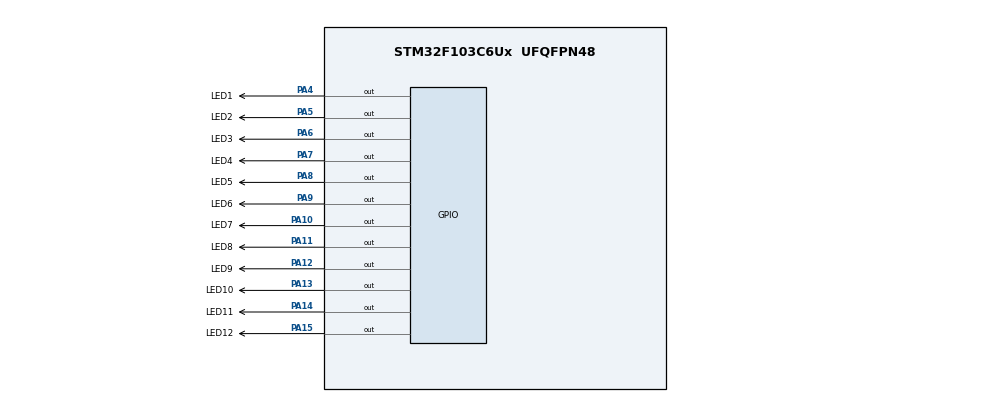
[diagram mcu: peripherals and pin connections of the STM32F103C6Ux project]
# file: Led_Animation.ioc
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Mcu.Family=STM32F1
Mcu.Name=STM32F103C6Ux
Mcu.Package=UFQFPN48
NVIC.PriorityGroup=NVIC_PRIORITYGROUP_4
PA10.GPIO_Label=LED7
PA10.Signal=GPIO_Output
PA11.GPIO_Label=LED8
PA11.Signal=GPIO_Output
PA12.GPIO_Label=LED9
PA12.Signal=GPIO_Output
PA13.GPIO_Label=LED10
PA13.Signal=GPIO_Output
PA14.GPIO_Label=LED11
PA14.Signal=GPIO_Output
PA15.GPIO_Label=LED12
PA15.Signal=GPIO_Output
PA4.GPIO_Label=LED1
PA4.Signal=GPIO_Output
PA5.GPIO_Label=LED2
PA5.Signal=GPIO_Output
PA6.GPIO_Label=LED3
PA6.Signal=GPIO_Output
PA7.GPIO_Label=LED4
PA7.Signal=GPIO_Output
PA8.GPIO_Label=LED5
PA8.Signal=GPIO_Output
PA9.GPIO_Label=LED6
PA9.Signal=GPIO_Output
ProjectManager.HeapSize=0x200
ProjectManager.StackSize=0x400
ProjectManager.TargetToolchain=STM32CubeIDE
RCC.APB1Freq_Value=8000000
RCC.APB2Freq_Value=8000000
VP_SYS_VS_ND.Mode=No_Debug
board=custom

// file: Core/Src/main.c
/* USER CODE BEGIN Header */
/**
  ******************************************************************************
  * @file           : main.c
  * @brief          : Main program body
  ******************************************************************************
  * @attention
  *
  * <h2><center>&copy; Copyright (c) 2025 STMicroelectronics.
  * All rights reserved.</center></h2>
  *
  * This software component is licensed by ST under BSD 3-Clause license,
  * the "License"; You may not use this file except in compliance with the
  * License. You may obtain a copy of the License at:
  *                        opensource.org/licenses/BSD-3-Clause
  *
  ******************************************************************************
  */
/* USER CODE END Header */
#include "main.h"

void SystemClock_Config(void);
static void MX_GPIO_Init(void);

/* USER CODE BEGIN 0 */
void clearAllclock(){
	HAL_GPIO_WritePin(GPIOA, LED1_Pin|LED2_Pin|LED3_Pin|LED4_Pin|LED5_Pin|LED6_Pin|LED7_Pin|LED8_Pin|LED9_Pin|LED10_Pin|LED11_Pin|LED12_Pin, GPIO_PIN_SET);
}

static const uint16_t CLOCK_LED_PIN[12]={
		LED1_Pin,
		LED2_Pin,
		LED3_Pin,
		LED4_Pin,
		LED5_Pin,
		LED6_Pin,
		LED7_Pin,
		LED8_Pin,
		LED9_Pin,
		LED10_Pin,
		LED11_Pin,
		LED12_Pin
};

void setNumberOnClock(int num){
	if(num<0||num>11) return;
	HAL_GPIO_WritePin(GPIOA, CLOCK_LED_PIN[num], RESET);
}

void clearNumberOnClock(int num){
	if(num<0||num>11) return;
	HAL_GPIO_WritePin(GPIOA, CLOCK_LED_PIN[num], SET);
}
/* USER CODE END 0 */

int main(void)
{

  /* MCU Configuration--------------------------------------------------------*/

  /* Reset of all peripherals, Initializes the Flash interface and the Systick. */
  HAL_Init();

  /* Configure the system clock */
  SystemClock_Config();

  /* Initialize all configured peripherals */
  MX_GPIO_Init();

  /* Infinite loop */
  /* USER CODE BEGIN WHILE */
  int hour=5;
  int min=49;
  int sec=55;
  int h,m,s;
  while (1)
  {
    /* USER CODE END WHILE */
	  sec++;
	  if(sec>=60){
		  sec=0;
		  min++;
		  if(min>=60){
			  min=0;
			  hour++;
			  if(hour>=12) hour=0;
		  }
	  }
	  h=hour%12;
	  m=(min/5);
	  s=(sec/5);
	  clearAllclock();
	  setNumberOnClock(h);
	  setNumberOnClock(m);
	  setNumberOnClock(s);
	  HAL_Delay(1000);
  }
}

void SystemClock_Config(void)
{
  RCC_OscInitTypeDef RCC_OscInitStruct = {0};
  RCC_ClkInitTypeDef RCC_ClkInitStruct = {0};

  /** Initializes the RCC Oscillators according to the specified parameters
  * in the RCC_OscInitTypeDef structure.
  */
  RCC_OscInitStruct.OscillatorType = RCC_OSCILLATORTYPE_HSI;
  RCC_OscInitStruct.HSIState = RCC_HSI_ON;
  RCC_OscInitStruct.HSICalibrationValue = RCC_HSICALIBRATION_DEFAULT;
  RCC_OscInitStruct.PLL.PLLState = RCC_PLL_NONE;
  if (HAL_RCC_OscConfig(&RCC_OscInitStruct) != HAL_OK)
  {
    Error_Handler();
  }
  /** Initializes the CPU, AHB and APB buses clocks
  */
  RCC_ClkInitStruct.ClockType = RCC_CLOCKTYPE_HCLK|RCC_CLOCKTYPE_SYSCLK
                              |RCC_CLOCKTYPE_PCLK1|RCC_CLOCKTYPE_PCLK2;
  RCC_ClkInitStruct.SYSCLKSource = RCC_SYSCLKSOURCE_HSI;
  RCC_ClkInitStruct.AHBCLKDivider = RCC_SYSCLK_DIV1;
  RCC_ClkInitStruct.APB1CLKDivider = RCC_HCLK_DIV1;
  RCC_ClkInitStruct.APB2CLKDivider = RCC_HCLK_DIV1;

  if (HAL_RCC_ClockConfig(&RCC_ClkInitStruct, FLASH_LATENCY_0) != HAL_OK)
  {
    Error_Handler();
  }
}

static void MX_GPIO_Init(void)
{
  GPIO_InitTypeDef GPIO_InitStruct = {0};

  /* GPIO Ports Clock Enable */
  __HAL_RCC_GPIOA_CLK_ENABLE();

  /*Configure GPIO pin Output Level */
  HAL_GPIO_WritePin(GPIOA, LED1_Pin|LED2_Pin|LED3_Pin|LED4_Pin
                          |LED5_Pin|LED6_Pin|LED7_Pin|LED8_Pin
                          |LED9_Pin|LED10_Pin|LED11_Pin|LED12_Pin, GPIO_PIN_RESET);

  /*Configure GPIO pins : LED1_Pin LED2_Pin LED3_Pin LED4_Pin
                           LED5_Pin LED6_Pin LED7_Pin LED8_Pin
                           LED9_Pin LED10_Pin LED11_Pin LED12_Pin */
  GPIO_InitStruct.Pin = LED1_Pin|LED2_Pin|LED3_Pin|LED4_Pin
                          |LED5_Pin|LED6_Pin|LED7_Pin|LED8_Pin
                          |LED9_Pin|LED10_Pin|LED11_Pin|LED12_Pin;
  GPIO_InitStruct.Mode = GPIO_MODE_OUTPUT_PP;
  GPIO_InitStruct.Pull = GPIO_NOPULL;
  GPIO_InitStruct.Speed = GPIO_SPEED_FREQ_LOW;
  HAL_GPIO_Init(GPIOA, &GPIO_InitStruct);

}

void Error_Handler(void)
{
  __disable_irq();
  while (1)
  {
  }
}

/************************ (C) COPYRIGHT STMicroelectronics *****END OF FILE****/
